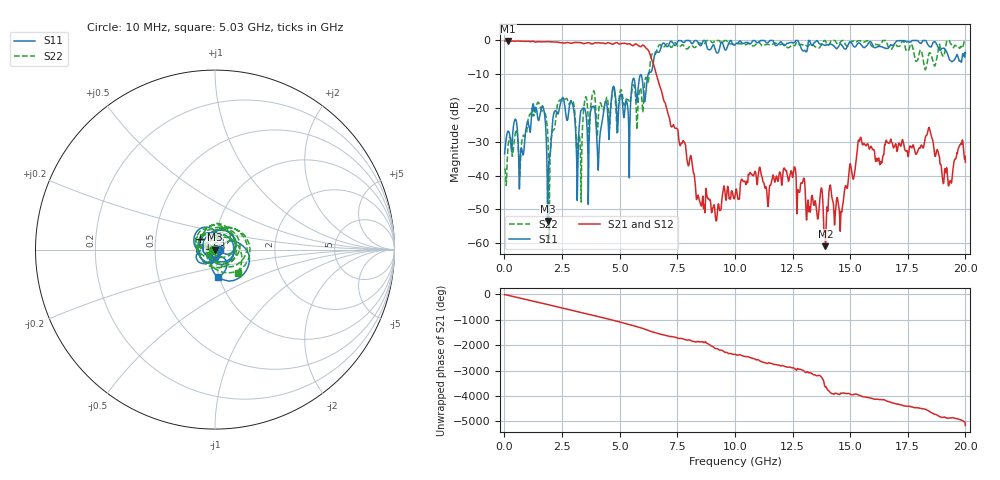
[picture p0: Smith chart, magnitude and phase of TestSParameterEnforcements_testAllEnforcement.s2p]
! File created by SignalIntegrity v1.1.9: Signal and Power Integrity Tools
! https://github.com/TeledyneLeCroy/SignalIntegrity
# MHz MA S R 50.0
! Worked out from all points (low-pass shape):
!   2000 points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, 10 MHz to 20 GHz, reference 50 ohm
!   highest |S21| = -0.13 dB at 160 MHz (marker M1); lowest = -60.9 dB at 13.93 GHz (marker M2)
!   |S21| within 3 dB of the highest: start of sweep to 6.263 GHz
!   lowest |S11| = -53.5 dB at 1.88 GHz (marker M3), VSWR 1.00, Z = 49.8 + j0.00141 ohm
!   |S11| at or under -10 dB: start of sweep to 6.239 GHz
!   |S22| runs from -59.0 to 0.0 dB; largest |S21 - S12| = 0
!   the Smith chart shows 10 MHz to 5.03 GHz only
!   S11 on the Smith chart (normalised r, x): 10 MHz: 1.04, -0.00; 1.63 GHz: 0.84, +0.10; 5.03 GHz: 0.98, -0.31
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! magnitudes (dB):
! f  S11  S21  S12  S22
! 10 MHz  -33.6  -0.2  -0.2  -37.9
! 160 MHz  -26.9  -0.1  -0.1  -31.2
! 730 MHz  -31.9  -0.2  -0.2  -31.7
! 1.63 GHz  -19.5  -0.4  -0.4  -20.7
! 1.88 GHz  -53.5  -0.4  -0.4  -27.7
! 2.63 GHz  -19.8  -0.7  -0.7  -17.3
! 3.16 GHz  -47.4  -0.6  -0.6  -34.3
! 3.35 GHz  -20.6  -0.7  -0.7  -35.2
! 3.51 GHz  -20.8  -0.8  -0.8  -17.2
! 4.09 GHz  -35.1  -0.7  -0.7  -21.1
! 5.03 GHz  -16.2  -1.0  -1.0  -14.8
! 5.78 GHz  -16.2  -1.3  -1.3  -21.9
! 6.68 GHz  -3.5  -12.1  -12.1  -1.8
! 8.43 GHz  -1.0  -46.5  -46.5  -0.9
! 10.01 GHz  -1.3  -45.8  -45.8  -1.1
! 12.53 GHz  -0.7  -39.6  -39.6  -1.4
! 13.34 GHz  -1.5  -45.9  -45.9  -1.2
! 13.93 GHz  -1.4  -60.9  -60.9  -0.2
! 15.42 GHz  -0.8  -29.4  -29.4  -0.1
! 16.67 GHz  -2.2  -30.4  -30.4  -2.1
! 19.32 GHz  -5.8  -41.7  -41.7  -0.4
! 20 GHz  -3.9  -36.1  -36.1  0.0
